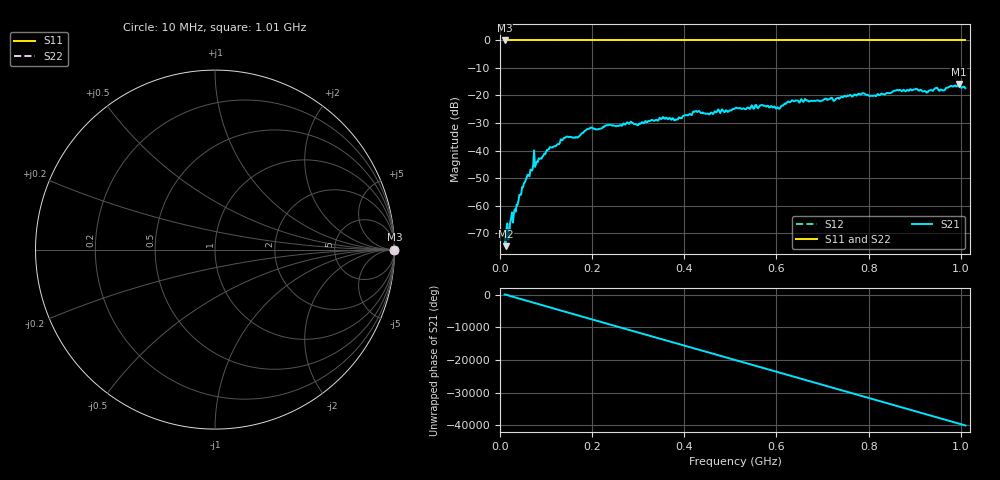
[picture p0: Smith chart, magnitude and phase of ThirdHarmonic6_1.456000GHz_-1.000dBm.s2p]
! 8/16/2025 4:54:36 PM
! C:\ANRITSUVNA\TEMP\TEMP.S2P
! CHANNEL.1
! TR.MEASUREMENT
! RAW.DATA
! RF.CORRECTION.OFF
! AVERAGING.OFF
! IF.BANDWIDTH: 5KHZ
! SWEEPTYPE:  FREQ.SWEEP(Linear)
! Reference Plane Port Info
! PORT:  PORT1  PORT2
! DISTANCE:  0  m  0  m
! TIME:  0  s  0  s
! PHASE.OFFSET:  0  deg.  0  deg.
! LOSS:  0  dB  0  dB
! REF.LOSS:  0  dB  0  dB
! REF.FREQ:  0  Hz  0  Hz
! Power Info
! POWER:  -20  dBm  -20  dBm
! EFF.POWER:  -20  dBm  -20  dBm
! SOURCE.ATTEN:  0  dB  0  dB
! TEST.ATTEN:  0  dB  0  dB
# GHZ S RI R 50.0
! FREQ.GHZ  S11RE  S11IM  S21RE  S21IM  S12RE  S12IM  S22RE  S22IM
!; PortSelection: Port_12
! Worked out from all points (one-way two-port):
!   501 points, 10 MHz to 1.01 GHz, reference 50 ohm
!   highest |S21| = -15.85 dB at 996 MHz (marker M1); lowest = -74.8 dB at 12 MHz (marker M2)
!   lowest |S11| = 0.0 dB at 10 MHz (marker M3)
!   |S11| at or under -10 dB: nowhere
!   |S22| runs from 0.0 to 0.0 dB; largest |S21 - S12| = 1.1
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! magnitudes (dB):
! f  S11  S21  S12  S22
! 10 MHz  0.0  -71.6  0.0  0.0
! 12 MHz  0.0  -74.8  0.0  0.0
! 16 MHz  0.0  -66.5  0.0  0.0
! 26 MHz  0.0  -62.5  0.0  0.0
! 52 MHz  0.0  -51.9  0.0  0.0
! 68 MHz  0.0  -47.3  0.0  0.0
! 70 MHz  0.0  -47.2  0.0  0.0
! 136 MHz  0.0  -36.2  0.0  0.0
! 178 MHz  0.0  -33.7  0.0  0.0
! 196 MHz  0.0  -31.8  0.0  0.0
! 344 MHz  0.0  -29.0  0.0  0.0
! 382 MHz  0.0  -28.7  0.0  0.0
! 424 MHz  0.0  -25.8  0.0  0.0
! 452 MHz  0.0  -26.8  0.0  0.0
! 510 MHz  0.0  -24.7  0.0  0.0
! 568 MHz  0.0  -23.5  0.0  0.0
! 604 MHz  0.0  -24.6  0.0  0.0
! 630 MHz  0.0  -22.4  0.0  0.0
! 678 MHz  0.0  -22.0  0.0  0.0
! 844 MHz  0.0  -19.2  0.0  0.0
! 996 MHz  0.0  -15.9  0.0  0.0
! 1.01 GHz  0.0  -17.4  0.0  0.0
